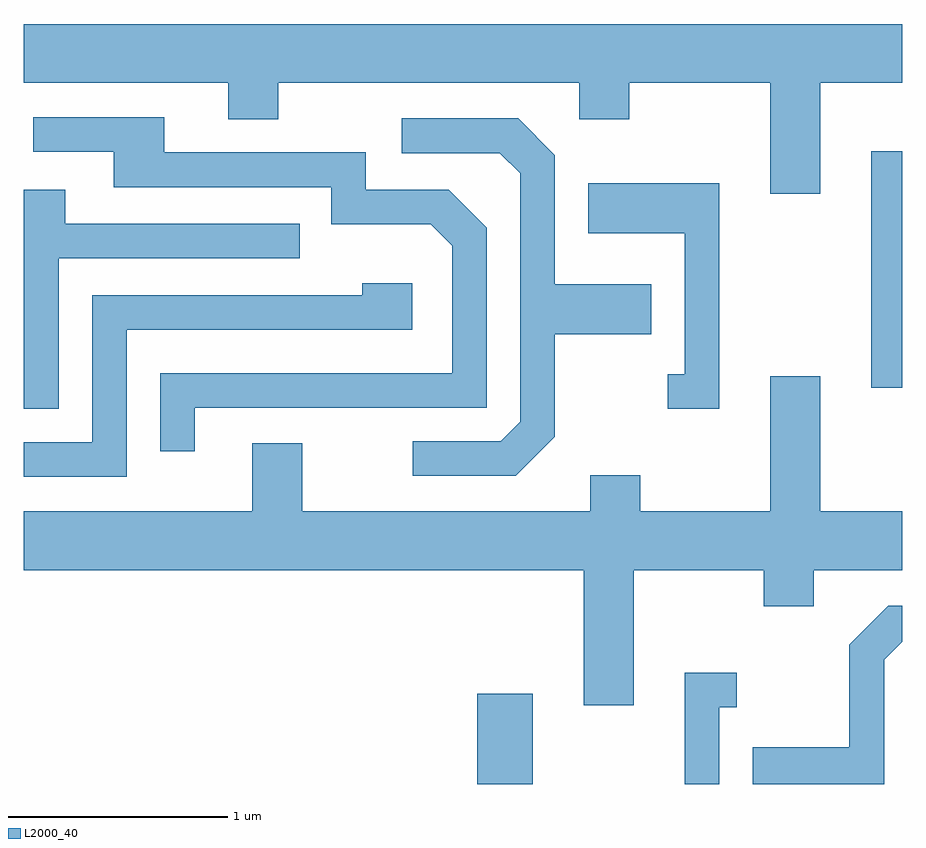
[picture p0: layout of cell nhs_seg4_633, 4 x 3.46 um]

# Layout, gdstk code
import gdstk
lib = gdstk.Library(unit=1e-6, precision=1e-09)
def R(c, l, rs):  # rectangles x0, y0, x1, y1
    for r in rs: c.add(gdstk.rectangle(r[:2], r[2:], *l))
def P(c, l, *ps):  # polygons
    for p in ps: c.add(gdstk.Polygon(p, *l))
L2000_40 = (2000, 40)

nhs_seg4_633 = lib.new_cell('nhs_seg4_633')
R(nhs_seg4_633, L2000_40, [(205.676,1295.982,205.929,1296.394), (207.471,1297.786,207.611,1298.864)])
P(nhs_seg4_633, L2000_40, [(207.239,1299.176),(207.611,1299.176),(207.611,1299.444),(203.611,1299.444),(203.611,1299.176),(204.541,1299.176),(204.541,1299.011),(204.769,1299.011),(204.769,1299.176),(206.141,1299.176),(206.141,1299.011),(206.369,1299.011),(206.369,1299.176),(207.011,1299.176),(207.011,1298.671),(207.239,1298.671)],
  [(204.389,1297.696),(205.719,1297.696),(205.719,1298.517),(205.547,1298.689),(205.169,1298.689),(205.169,1298.859),(204.249,1298.859),(204.249,1299.019),(203.653,1299.019),(203.653,1298.861),(204.021,1298.861),(204.021,1298.701),(205.011,1298.701),(205.011,1298.531),(205.464,1298.531),(205.561,1298.434),(205.561,1297.854),(204.231,1297.854),(204.231,1297.498),(204.389,1297.498)],
  [(206.029,1297.564),(206.029,1298.031),(206.469,1298.031),(206.469,1298.259),(206.029,1298.259),(206.029,1298.847),(205.862,1299.014),(205.333,1299.014),(205.333,1298.856),(205.779,1298.856),(205.871,1298.764),(205.871,1297.632),(205.784,1297.544),(205.383,1297.544),(205.383,1297.386),(205.852,1297.386)],
  [(206.779,1298.719),(206.181,1298.719),(206.181,1298.491),(206.621,1298.491),(206.621,1297.849),(206.543,1297.849),(206.543,1297.691),(206.779,1297.691)],
  [(203.769,1298.376),(204.868,1298.376),(204.868,1298.534),(203.799,1298.534),(203.799,1298.689),(203.611,1298.689),(203.611,1297.691),(203.769,1297.691)],
  [(204.079,1298.051),(205.379,1298.051),(205.379,1298.264),(205.151,1298.264),(205.151,1298.209),(203.921,1298.209),(203.921,1297.539),(203.611,1297.539),(203.611,1297.381),(204.079,1297.381)],
  [(206.389,1296.956),(206.981,1296.956),(206.981,1296.791),(207.209,1296.791),(207.209,1296.956),(207.611,1296.956),(207.611,1297.224),(207.239,1297.224),(207.239,1297.839),(207.011,1297.839),(207.011,1297.224),(206.419,1297.224),(206.419,1297.389),(206.191,1297.389),(206.191,1297.224),(204.879,1297.224),(204.879,1297.534),(204.651,1297.534),(204.651,1297.224),(203.611,1297.224),(203.611,1296.956),(206.161,1296.956),(206.161,1296.341),(206.389,1296.341)],
  [(207.529,1296.549),(207.611,1296.63),(207.611,1296.794),(207.549,1296.794),(207.371,1296.617),(207.371,1296.149),(206.931,1296.149),(206.931,1295.982),(207.529,1295.982)],
  [(206.779,1296.331),(206.858,1296.331),(206.858,1296.489),(206.621,1296.489),(206.621,1295.982),(206.779,1295.982)])

lib.write_gds('nhs_seg4_633.gds')
